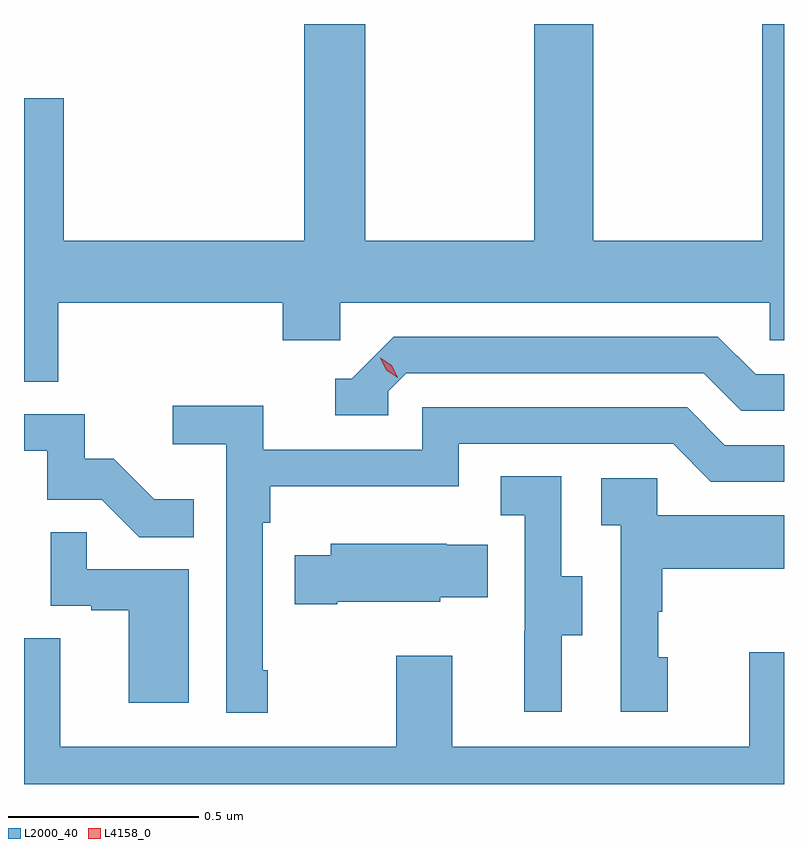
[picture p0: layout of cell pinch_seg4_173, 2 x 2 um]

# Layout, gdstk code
import gdstk
lib = gdstk.Library(unit=1e-6, precision=1e-09)
def P(c, l, *ps):  # polygons
    for p in ps: c.add(gdstk.Polygon(p, *l))
L2000_40 = (2000, 40)
L4158_0 = (4158, 0)

pinch_seg4_173 = lib.new_cell('pinch_seg4_173')
P(pinch_seg4_173, L2000_40, [(1142.18,799.484),(1142.771,799.484),(1142.771,799.386),(1142.922,799.386),(1142.922,799.484),(1144.053,799.484),(1144.053,799.386),(1144.09,799.386),(1144.09,800.218),(1144.033,800.218),(1144.033,799.648),(1143.588,799.648),(1143.588,800.218),(1143.433,800.218),(1143.433,799.648),(1142.988,799.648),(1142.988,800.218),(1142.828,800.218),(1142.828,799.648),(1142.194,799.648),(1142.194,800.023),(1142.09,800.023),(1142.09,799.276),(1142.18,799.276)],
  [(1143.048,799.251),(1143.096,799.299),(1143.879,799.299),(1143.978,799.2),(1144.09,799.2),(1144.09,799.296),(1144.015,799.296),(1143.916,799.395),(1143.063,799.395),(1142.952,799.284),(1142.909,799.284),(1142.909,799.188),(1143.048,799.188)],
  [(1142.731,798.517),(1142.718,798.517),(1142.718,798.905),(1142.738,798.905),(1142.738,799.001),(1143.234,799.001),(1143.234,799.113),(1143.798,799.113),(1143.897,799.014),(1144.09,799.014),(1144.09,799.11),(1143.934,799.11),(1143.835,799.209),(1143.138,799.209),(1143.138,799.098),(1142.72,799.098),(1142.72,799.214),(1142.481,799.214),(1142.481,799.112),(1142.622,799.112),(1142.622,798.405),(1142.731,798.405)],
  [(1142.537,798.967),(1142.433,798.967),(1142.326,799.074),(1142.25,799.074),(1142.25,799.191),(1142.09,799.191),(1142.09,799.095),(1142.151,799.095),(1142.151,798.966),(1142.295,798.966),(1142.393,798.868),(1142.537,798.868)],
  [(1143.505,798.61),(1143.559,798.61),(1143.559,798.765),(1143.504,798.765),(1143.504,799.028),(1143.345,799.028),(1143.345,798.925),(1143.408,798.925),(1143.408,798.621),(1143.407,798.621),(1143.407,798.408),(1143.505,798.408)],
  [(1143.784,798.552),(1143.759,798.552),(1143.759,798.671),(1143.769,798.671),(1143.769,798.785),(1144.09,798.785),(1144.09,798.925),(1143.756,798.925),(1143.756,799.023),(1143.609,799.023),(1143.609,798.899),(1143.66,798.899),(1143.66,798.408),(1143.784,798.408)],
  [(1142.524,798.783),(1142.255,798.783),(1142.255,798.881),(1142.16,798.881),(1142.16,798.687),(1142.267,798.687),(1142.267,798.675),(1142.366,798.675),(1142.366,798.432),(1142.524,798.432)],
  [(1142.914,798.698),(1143.186,798.698),(1143.186,798.71),(1143.311,798.71),(1143.311,798.847),(1143.203,798.847),(1143.203,798.85),(1142.897,798.85),(1142.897,798.82),(1142.803,798.82),(1142.803,798.691),(1142.914,798.691)],
  [(1144.09,798.565),(1143.998,798.565),(1143.998,798.316),(1143.217,798.316),(1143.217,798.556),(1143.07,798.556),(1143.07,798.316),(1142.185,798.316),(1142.185,798.602),(1142.09,798.602),(1142.09,798.218),(1144.09,798.218)])
P(pinch_seg4_173, L4158_0, [(1143.074,799.287),(1143.043,799.307),(1143.028,799.339),(1143.028,799.34),(1143.028,799.34),(1143.058,799.32),(1143.074,799.287),(1143.074,799.287)])

lib.write_gds('pinch_seg4_173.gds')
